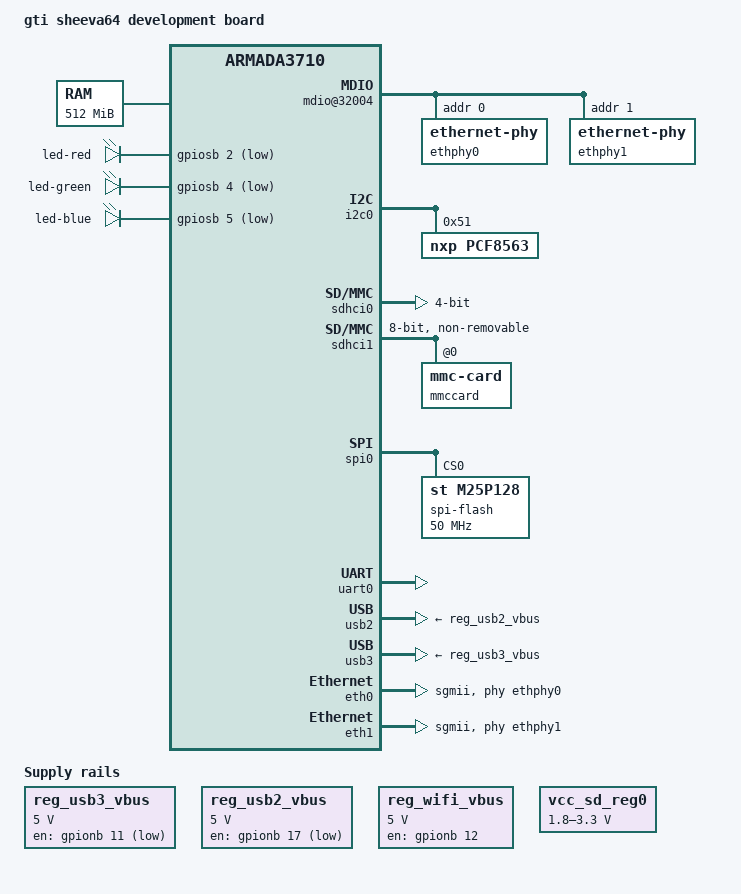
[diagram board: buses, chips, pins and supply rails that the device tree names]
/*
 * Device Tree file for GTI Armada 3720 sheeva64 board hw.v5
 *
 * Copyright (C) 2016 Marvell
 *
 * Gregory CLEMENT <gregory.clement@free-electrons.com>
 * Konstantin Porotchkin <kostap@marvell.com>
 *
 * This file is dual-licensed: you can use it either under the terms
 * of the GPL or the X11 license, at your option. Note that this dual
 * licensing only applies to this file, and not this project as a
 * whole.
 *
 *  a) This file is free software; you can redistribute it and/or
 *     modify it under the terms of the GNU General Public License as
 *     published by the Free Software Foundation; either version 2 of the
 *     License, or (at your option) any later version.
 *
 *     This file is distributed in the hope that it will be useful
 *     but WITHOUT ANY WARRANTY; without even the implied warranty of
 *     MERCHANTABILITY or FITNESS FOR A PARTICULAR PURPOSE.  See the
 *     GNU General Public License for more details.
 *
 * Or, alternatively
 *
 *  b) Permission is hereby granted, free of charge, to any person
 *     obtaining a copy of this software and associated documentation
 *     files (the "Software"), to deal in the Software without
 *     restriction, including without limitation the rights to use
 *     copy, modify, merge, publish, distribute, sublicense, and/or
 *     sell copies of the Software, and to permit persons to whom the
 *     Software is furnished to do so, subject to the following
 *     conditions:
 *
 *     The above copyright notice and this permission notice shall be
 *     included in all copies or substantial portions of the Software.
 *
 *     THE SOFTWARE IS PROVIDED , WITHOUT WARRANTY OF ANY KIND
 *     EXPRESS OR IMPLIED, INCLUDING BUT NOT LIMITED TO THE WARRANTIES
 *     OF MERCHANTABILITY, FITNESS FOR A PARTICULAR PURPOSE AND
 *     NONINFRINGEMENT. IN NO EVENT SHALL THE AUTHORS OR COPYRIGHT
 *     HOLDERS BE LIABLE FOR ANY CLAIM, DAMAGES OR OTHER LIABILITY
 *     WHETHER IN AN ACTION OF CONTRACT, TORT OR OTHERWISE, ARISING
 *     FROM, OUT OF OR IN CONNECTION WITH THE SOFTWARE OR THE USE OR
 *     OTHER DEALINGS IN THE SOFTWARE.
 */

/dts-v1/;

#include "armada-372x.dtsi"

/ {
	model = "gti sheeva64 development board";
	compatible = "gti,armada-3720-sheeva64-r5","gti,armada-3720-sheeva64",
				 "marvell,armada3720", "marvell,armada3710";

	chosen {
		stdout-path = "serial0:115200n8";
	};

	aliases {
		ethernet0 = &eth0;
		ethernet1 = &eth1;
		i2c0 = &i2c0;
		spi0 = &spi0;
	};

	memory {
		device_type = "memory";
		reg = <0x00000000 0x00000000 0x00000000 0x20000000>;
	};

	reg_usb3_vbus: usb3_vbus@0 {
		compatible = "regulator-fixed";
		regulator-name = "usb3-vbus";
		regulator-min-microvolt = <5000000>;
		regulator-max-microvolt = <5000000>;
		shutdown-delay-us = <1000000>;
		gpio = <&gpionb 11 GPIO_ACTIVE_HIGH>;
	};

	reg_usb2_vbus: usb2-vbus {
		compatible = "regulator-fixed";
		regulator-name = "usb2-vbus";
		regulator-min-microvolt = <5000000>;
		regulator-max-microvolt = <5000000>;
		gpio = <&gpionb 17 GPIO_ACTIVE_HIGH>;
	};

	reg_wifi_vbus: wifi-vbus {
		compatible = "regulator-fixed";
		regulator-name = "wifi-vbus";
		regulator-min-microvolt = <5000000>;
		regulator-max-microvolt = <5000000>;
		enable-active-high;
		regulator-boot-on;
		regulator-always-on;
		gpio = <&gpionb 12 GPIO_ACTIVE_HIGH>;
	};

	vcc_sd_reg0: regulator@0 {
		compatible = "regulator-gpio";
		regulator-name = "vcc_sd0";
		regulator-min-microvolt = <1800000>;
		regulator-max-microvolt = <3300000>;
		regulator-type = "voltage";
		states = <1800000 0x1 3300000 0x0>;
		gpios = <&gpionb 4 GPIO_ACTIVE_HIGH>;
	};

	mdio@32004 {
		#address-cells = <1>;
		#size-cells = <0>;
		status = "okay";

		ethphy0: ethernet-phy@0 {
			reg = <0>;
		};
		ethphy1: ethernet-phy@1 {
			reg = <1>;
		};
	};

	gpio-leds {
		compatible = "gpio-leds";
		red {
			label = "led-red";
			gpios = <&gpiosb 2 GPIO_ACTIVE_LOW>;
			default-state = "on";
		};
		green {
			label = "led-green";
			gpios = <&gpiosb 4 GPIO_ACTIVE_LOW>;
			default-state = "on";
		};
		blue {
			label = "led-blue";
			gpios = <&gpiosb 5 GPIO_ACTIVE_LOW>;
			default-state = "on";
		};
	};
};

&comphy {
	phy0 {
		phy-type = <COMPHY_TYPE_SGMII1>;
		phy-speed = <COMPHY_SPEED_1_25G>;
	};

	phy1 {
		phy-type = <COMPHY_TYPE_SGMII0>;
		phy-speed = <COMPHY_SPEED_1_25G>;
	};

	phy2 {
		phy-type = <COMPHY_TYPE_USB3_HOST0>;
		phy-speed = <COMPHY_SPEED_5G>;
	};
};

&i2c0 {
	pinctrl-names = "default";
	pinctrl-0 = <&i2c1_pins>;
	status = "okay";

	pcf8563: rtc@51 {
		compatible = "nxp,pcf8563";
		reg = <0x51>;
	};
};

&sdhci0 {
	pinctrl-names = "default";
	pinctrl-0 = <&sdio_pins>;
	bus-width = <4>;
	vqmmc-supply = <&vcc_sd_reg0>;
	status = "okay";
};

&sdhci1 {
	non-removable;
	bus-width = <8>;
	mmc-ddr-1_8v;
	mmc-hs400-1_8v;
	marvell,pad-type = "fixed-1-8v";
	pinctrl-names = "default";
	pinctrl-0 = <&mmc_pins>;
	status = "okay";

	#address-cells = <1>;
	#size-cells = <0>;
	mmccard: mmccard@0 {
		compatible = "mmc-card";
		reg = <0>;
	};
};

&spi0 {
	status = "okay";
	pinctrl-names = "default";
	pinctrl-0 = <&spi_quad_pins>;

	spi-flash@0 {
		#address-cells = <1>;
		#size-cells = <1>;
		compatible = "st,m25p128", "spi-flash";
		reg = <0>; /* Chip select 0 */
		spi-max-frequency = <50000000>;
		m25p,fast-read;
	};
};

&uart0 {
	pinctrl-names = "default";
	pinctrl-0 = <&uart1_pins>;
	status = "okay";
};

&usb2 {
	vbus-supply = <&reg_usb2_vbus>;
	status = "okay";
};

&usb3 {
	vbus-supply = <&reg_usb3_vbus>;
	status = "okay";
};

&eth0 {
	pinctrl-names = "default";
	pinctrl-0 = <&smi_pins>;
	phy-mode = "sgmii";
	phy = <&ethphy0>;
	status = "okay";
};

&eth1 {
	phy-mode = "sgmii";
	phy = <&ethphy1>;
	status = "okay";
};
